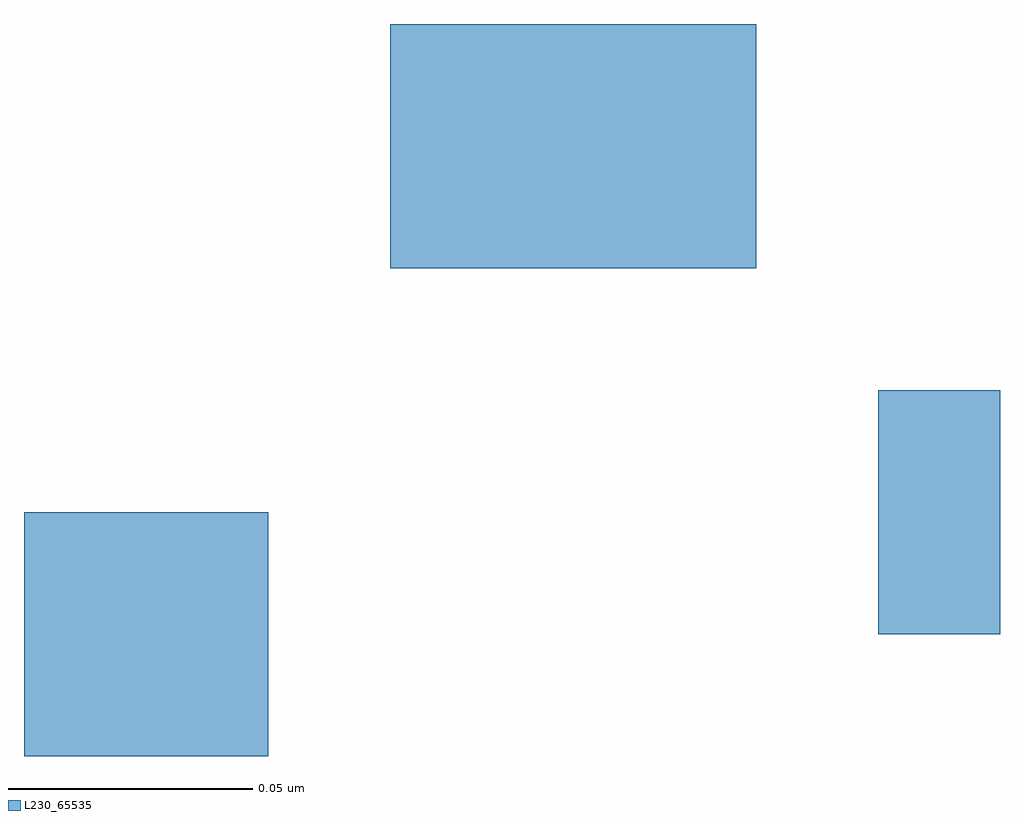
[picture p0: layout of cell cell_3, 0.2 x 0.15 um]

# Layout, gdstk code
import gdstk
lib = gdstk.Library(unit=1e-6, precision=1e-09)
def R(c, l, rs):  # rectangles x0, y0, x1, y1
    for r in rs: c.add(gdstk.rectangle(r[:2], r[2:], *l))
L230_65535 = (230, 65535)

cell_3 = lib.new_cell('cell_3')
R(cell_3, L230_65535, [(0.05,0.075,0.075,0.1), (0.075,0.075,0.1,0.1), (0.05,0.1,0.075,0.125), (0.075,0.1,0.1,0.125), (0.225,0.1,0.25,0.15), (0.125,0.175,0.2,0.225)])

lib.write_gds('cell_3.gds')
